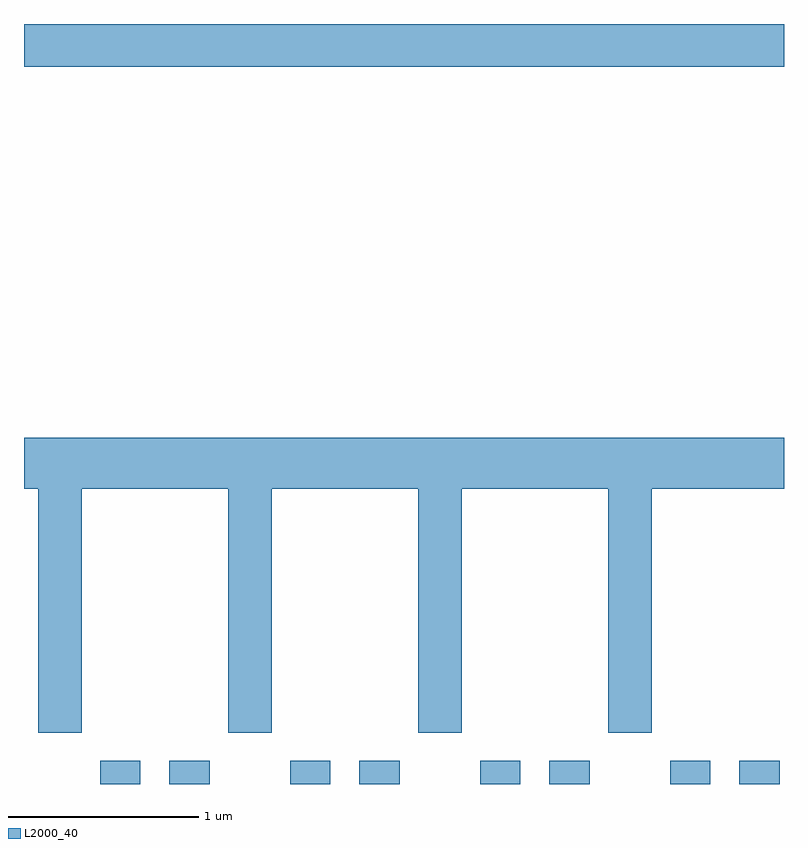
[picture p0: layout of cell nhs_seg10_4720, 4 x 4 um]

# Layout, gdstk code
import gdstk
lib = gdstk.Library(unit=1e-6, precision=1e-09)
def R(c, l, rs):  # rectangles x0, y0, x1, y1
    for r in rs: c.add(gdstk.rectangle(r[:2], r[2:], *l))
def P(c, l, *ps):  # polygons
    for p in ps: c.add(gdstk.Polygon(p, *l))
L2000_40 = (2000, 40)

nhs_seg10_4720 = lib.new_cell('nhs_seg10_4720')
R(nhs_seg10_4720, L2000_40, [(324.011,2174.522,324.224,2174.644), (324.376,2174.522,324.589,2174.644), (325.011,2174.522,325.224,2174.644), (325.376,2174.522,325.589,2174.644), (326.011,2174.522,326.224,2174.644), (326.376,2174.522,326.589,2174.644), (327.011,2174.522,327.224,2174.644), (327.376,2174.522,327.589,2174.644), (323.611,2178.296,327.611,2178.522)])
P(nhs_seg10_4720, L2000_40, [(323.914,2176.076),(324.686,2176.076),(324.686,2174.791),(324.914,2174.791),(324.914,2176.076),(325.686,2176.076),(325.686,2174.791),(325.914,2174.791),(325.914,2176.076),(326.686,2176.076),(326.686,2174.791),(326.914,2174.791),(326.914,2176.076),(327.611,2176.076),(327.611,2176.344),(323.611,2176.344),(323.611,2176.076),(323.686,2176.076),(323.686,2174.791),(323.914,2174.791)])

lib.write_gds('nhs_seg10_4720.gds')
